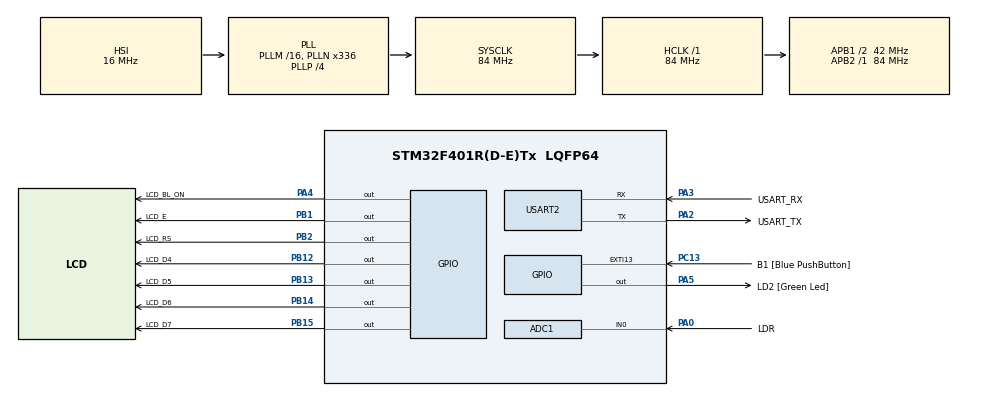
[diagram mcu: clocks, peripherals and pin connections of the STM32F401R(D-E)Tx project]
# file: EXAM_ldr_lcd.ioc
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ADC1.Channel-0\#ChannelRegularConversion=ADC_CHANNEL_0
ADC1.DMAContinuousRequests=ENABLE
ADC1.ExternalTrigConv=ADC_EXTERNALTRIGCONV_T3_TRGO
ADC1.NbrOfConversionFlag=1
ADC1.Rank-0\#ChannelRegularConversion=1
ADC1.SamplingTime-0\#ChannelRegularConversion=ADC_SAMPLETIME_480CYCLES
ADC1.master=1
Dma.ADC1.1.Direction=DMA_PERIPH_TO_MEMORY
Dma.ADC1.1.FIFOMode=DMA_FIFOMODE_DISABLE
Dma.ADC1.1.Instance=DMA2_Stream0
Dma.ADC1.1.MemDataAlignment=DMA_MDATAALIGN_HALFWORD
Dma.ADC1.1.MemInc=DMA_MINC_ENABLE
Dma.ADC1.1.Mode=DMA_CIRCULAR
Dma.ADC1.1.PeriphDataAlignment=DMA_PDATAALIGN_HALFWORD
Dma.ADC1.1.PeriphInc=DMA_PINC_DISABLE
Dma.ADC1.1.Priority=DMA_PRIORITY_LOW
Dma.Request0=USART2_TX
Dma.Request1=ADC1
Dma.USART2_TX.0.Direction=DMA_MEMORY_TO_PERIPH
Dma.USART2_TX.0.FIFOMode=DMA_FIFOMODE_DISABLE
Dma.USART2_TX.0.Instance=DMA1_Stream6
Dma.USART2_TX.0.MemDataAlignment=DMA_MDATAALIGN_BYTE
Dma.USART2_TX.0.MemInc=DMA_MINC_ENABLE
Dma.USART2_TX.0.Mode=DMA_NORMAL
Dma.USART2_TX.0.PeriphDataAlignment=DMA_PDATAALIGN_BYTE
Dma.USART2_TX.0.PeriphInc=DMA_PINC_DISABLE
Dma.USART2_TX.0.Priority=DMA_PRIORITY_LOW
Mcu.Family=STM32F4
Mcu.Name=STM32F401R(D-E)Tx
Mcu.Package=LQFP64
NVIC.ADC_IRQn=true\:0\:0\:false\:false\:true\:true\:true\:true
NVIC.DMA1_Stream6_IRQn=true\:0\:0\:false\:false\:true\:false\:true\:true
NVIC.DMA2_Stream0_IRQn=true\:0\:0\:false\:false\:true\:false\:true\:true
NVIC.PriorityGroup=NVIC_PRIORITYGROUP_0
NVIC.USART2_IRQn=true\:0\:0\:false\:false\:true\:true\:true\:true
PA0-WKUP.GPIO_Label=LDR
PA0-WKUP.Signal=ADCx_IN0
PA13.GPIO_Label=TMS
PA13.Mode=Serial_Wire
PA13.Signal=SYS_JTMS-SWDIO
PA14.GPIO_Label=TCK
PA14.Mode=Serial_Wire
PA14.Signal=SYS_JTCK-SWCLK
PA2.GPIO_Label=USART_TX
PA2.GPIO_Mode=GPIO_MODE_AF_PP
PA2.GPIO_PuPd=GPIO_NOPULL
PA2.GPIO_Speed=GPIO_SPEED_FREQ_LOW
PA2.Mode=Asynchronous
PA2.Signal=USART2_TX
PA3.GPIO_Label=USART_RX
PA3.GPIO_Mode=GPIO_MODE_AF_PP
PA3.GPIO_PuPd=GPIO_NOPULL
PA3.GPIO_Speed=GPIO_SPEED_FREQ_LOW
PA3.Mode=Asynchronous
PA3.Signal=USART2_RX
PA4.GPIO_Label=LCD_BL_ON
PA4.Signal=GPIO_Output
PA5.GPIO_Label=LD2 [Green Led]
PA5.GPIO_Mode=GPIO_MODE_OUTPUT_PP
PA5.GPIO_PuPd=GPIO_NOPULL
PA5.GPIO_Speed=GPIO_SPEED_FREQ_LOW
PA5.Signal=GPIO_Output
PB1.GPIO_Label=LCD_E
PB1.Signal=GPIO_Output
PB12.GPIO_Label=LCD_D4
PB12.Signal=GPIO_Output
PB13.GPIO_Label=LCD_D5
PB13.Signal=GPIO_Output
PB14.GPIO_Label=LCD_D6
PB14.Signal=GPIO_Output
PB15.GPIO_Label=LCD_D7
PB15.Signal=GPIO_Output
PB2.GPIO_Label=LCD_RS
PB2.Signal=GPIO_Output
PB3.GPIO_Label=SWO
PB3.Signal=SYS_JTDO-SWO
PC13-ANTI_TAMP.GPIO_Label=B1 [Blue PushButton]
PC13-ANTI_TAMP.GPIO_ModeDefaultEXTI=GPIO_MODE_IT_FALLING
PC13-ANTI_TAMP.GPIO_PuPd=GPIO_NOPULL
PC13-ANTI_TAMP.Signal=GPXTI13
PC14-OSC32_IN.Mode=LSE-External-Oscillator
PC14-OSC32_IN.Signal=RCC_OSC32_IN
PC15-OSC32_OUT.Mode=LSE-External-Oscillator
PC15-OSC32_OUT.Signal=RCC_OSC32_OUT
PH0\ -\ OSC_IN.Mode=HSE-External-Clock-Source
PH0\ -\ OSC_IN.Signal=RCC_OSC_IN
PH1\ -\ OSC_OUT.Mode=HSE-External-Clock-Source
PH1\ -\ OSC_OUT.Signal=RCC_OSC_OUT
ProjectManager.HeapSize=0x200
ProjectManager.StackSize=0x400
ProjectManager.TargetToolchain=STM32CubeIDE
RCC.48MHZClocksFreq_Value=48000000
RCC.AHBFreq_Value=84000000
RCC.APB1CLKDivider=RCC_HCLK_DIV2
RCC.APB1Freq_Value=42000000
RCC.APB1TimFreq_Value=84000000
RCC.APB2Freq_Value=84000000
RCC.APB2TimFreq_Value=84000000
RCC.CortexFreq_Value=84000000
RCC.HCLKFreq_Value=84000000
RCC.HSE_VALUE=8000000
RCC.HSI_VALUE=16000000
RCC.PLLN=336
RCC.PLLP=RCC_PLLP_DIV4
RCC.PLLQ=7
RCC.SYSCLKFreq_VALUE=84000000
RCC.SYSCLKSource=RCC_SYSCLKSOURCE_PLLCLK
RCC.VCOOutputFreq_Value=336000000
SH.ADCx_IN0.0=ADC1_IN0,IN0
TIM3.Period=9
TIM3.Prescaler=8399
TIM3.TIM_MasterOutputTrigger=TIM_TRGO_UPDATE
USART2.VirtualMode=VM_ASYNC
VP_TIM3_VS_ClockSourceINT.Mode=Internal
board=NUCLEO-F401RE

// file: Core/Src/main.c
/* USER CODE BEGIN Header */
/**
  ******************************************************************************
  * @file           : main.c
  * @brief          : Main program body
  ******************************************************************************
  * @attention
  *
  * Copyright (c) 2024 STMicroelectronics.
  * All rights reserved.
  *
  * This software is licensed under terms that can be found in the LICENSE file
  * in the root directory of this software component.
  * If no LICENSE file comes with this software, it is provided AS-IS.
  *
  ******************************************************************************
  */
/* USER CODE END Header */
#include "main.h"

/* USER CODE BEGIN Includes */
#include <string.h>
#include <stdio.h>
#include <math.h>
#include "../inc/PMDB16_LCD.h"
/* USER CODE END Includes */

/* USER CODE BEGIN PD */
#define FULL_ARRAY_SIZE 		2000
#define HALF_ARRAY_SIZE 		1000
#define VOLTAGE 				3.3
#define ONE_HUNDRED_K_OHMS		100000
#define RESOLUTION 				4095.0
#define TOP_ROW 				0
#define BOTTOM_ROW 				1
/* USER CODE END PD */

ADC_HandleTypeDef hadc1;
DMA_HandleTypeDef hdma_adc1;

TIM_HandleTypeDef htim3;

UART_HandleTypeDef huart2;
DMA_HandleTypeDef hdma_usart2_tx;

void SystemClock_Config(void);
static void MX_GPIO_Init(void);
static void MX_DMA_Init(void);
static void MX_USART2_UART_Init(void);
static void MX_TIM3_Init(void);
static void MX_ADC1_Init(void);

/* USER CODE BEGIN 0 */

uint16_t adcValues[FULL_ARRAY_SIZE]; // Array to store ADC values from three channels
char txBuffer[50]; // Buffer to store the string to send over USART
char top_lcd_str[30]; // String for the top row of the LCD
char bottom_lcd_str[30]; // String for the bottom row of the LCD

/**
 * @brief Calculate and return mean value of an array
 */
uint32_t CalculateMean(uint16_t* HalfArray)
{
	uint32_t sum = 0;
	for(uint16_t index = 0; index < HALF_ARRAY_SIZE; index++)
	{
		sum += HalfArray[index];
	}
	uint32_t result = sum / HALF_ARRAY_SIZE;
	return result;
}

/**
 * @brief Modification and sending of LDR values to the terminal by using UART
 */
void SendData(uint16_t* HalfArray)
{
	// Calculate mean of desired half of array
	uint32_t adcMean = CalculateMean(HalfArray);

	// Calculate adcV, LDR and LUX values
	float adcV = adcMean / RESOLUTION * VOLTAGE;
	float ldr = adcV * ONE_HUNDRED_K_OHMS / (VOLTAGE - adcV);
	float lux = pow((10 * (ONE_HUNDRED_K_OHMS / ldr)), 1.25);

	// UART String format
	snprintf(txBuffer, sizeof(txBuffer), "LDR: %.2f Ohm, LUX: %.2f Lux\r\n", ldr, lux);
	HAL_UART_Transmit_DMA(&huart2, (uint8_t*)txBuffer, strlen(txBuffer));

	// LCD String format
	snprintf(top_lcd_str, sizeof(top_lcd_str), "LDR: %.2f", ldr);
	snprintf(bottom_lcd_str, sizeof(bottom_lcd_str), "LUX: %.2f Lux", lux);
	lcd_println(top_lcd_str, TOP_ROW);
	lcd_println(bottom_lcd_str, BOTTOM_ROW);
}

/**
 * @brief Half Callback of the ADC function
 * 		  Send data function, pointer to first value of array
 */
void HAL_ADC_ConvHalfCpltCallback(ADC_HandleTypeDef* hadc)
{
	SendData(adcValues);
}

/**
 * @brief Full Callback of the ADC function
 * 		  Send data function, pointer to 1000th value of array
 */
void HAL_ADC_ConvCpltCallback(ADC_HandleTypeDef* hadc)
{
	SendData(adcValues + HALF_ARRAY_SIZE);
}

/* USER CODE END 0 */

int main(void)
{

  /* MCU Configuration--------------------------------------------------------*/

  /* Reset of all peripherals, Initializes the Flash interface and the Systick. */
  HAL_Init();

  /* Configure the system clock */
  SystemClock_Config();

  /* Initialize all configured peripherals */
  MX_GPIO_Init();
  MX_DMA_Init();
  MX_USART2_UART_Init();
  MX_TIM3_Init();
  MX_ADC1_Init();
  /* USER CODE BEGIN 2 */

  // Start TIM 3 (1 milli sec)
  if(HAL_TIM_Base_Start(&htim3) != HAL_OK)
  {
	 Error_Handler();
  }

  // Start ADC
  if(HAL_ADC_Start_DMA(&hadc1, (uint32_t *) adcValues, FULL_ARRAY_SIZE) != HAL_OK)
  {
	 Error_Handler();
  }

  /** Initialize the LCD controller **/
  lcd_initialize();

  /** Turn ON the LCD backlight **/
  lcd_backlight_ON();

  /* USER CODE END 2 */

  /* Infinite loop */
  while (1)
  {

  }
}

void SystemClock_Config(void)
{
  RCC_OscInitTypeDef RCC_OscInitStruct = {0};
  RCC_ClkInitTypeDef RCC_ClkInitStruct = {0};

  /** Configure the main internal regulator output voltage
  */
  __HAL_RCC_PWR_CLK_ENABLE();
  __HAL_PWR_VOLTAGESCALING_CONFIG(PWR_REGULATOR_VOLTAGE_SCALE2);

  /** Initializes the RCC Oscillators according to the specified parameters
  * in the RCC_OscInitTypeDef structure.
  */
  RCC_OscInitStruct.OscillatorType = RCC_OSCILLATORTYPE_HSI;
  RCC_OscInitStruct.HSIState = RCC_HSI_ON;
  RCC_OscInitStruct.HSICalibrationValue = RCC_HSICALIBRATION_DEFAULT;
  RCC_OscInitStruct.PLL.PLLState = RCC_PLL_ON;
  RCC_OscInitStruct.PLL.PLLSource = RCC_PLLSOURCE_HSI;
  RCC_OscInitStruct.PLL.PLLM = 16;
  RCC_OscInitStruct.PLL.PLLN = 336;
  RCC_OscInitStruct.PLL.PLLP = RCC_PLLP_DIV4;
  RCC_OscInitStruct.PLL.PLLQ = 7;
  if (HAL_RCC_OscConfig(&RCC_OscInitStruct) != HAL_OK)
  {
    Error_Handler();
  }

  /** Initializes the CPU, AHB and APB buses clocks
  */
  RCC_ClkInitStruct.ClockType = RCC_CLOCKTYPE_HCLK|RCC_CLOCKTYPE_SYSCLK
                              |RCC_CLOCKTYPE_PCLK1|RCC_CLOCKTYPE_PCLK2;
  RCC_ClkInitStruct.SYSCLKSource = RCC_SYSCLKSOURCE_PLLCLK;
  RCC_ClkInitStruct.AHBCLKDivider = RCC_SYSCLK_DIV1;
  RCC_ClkInitStruct.APB1CLKDivider = RCC_HCLK_DIV2;
  RCC_ClkInitStruct.APB2CLKDivider = RCC_HCLK_DIV1;

  if (HAL_RCC_ClockConfig(&RCC_ClkInitStruct, FLASH_LATENCY_2) != HAL_OK)
  {
    Error_Handler();
  }
}

static void MX_ADC1_Init(void)
{

  ADC_ChannelConfTypeDef sConfig = {0};

  /** Configure the global features of the ADC (Clock, Resolution, Data Alignment and number of conversion)
  */
  hadc1.Instance = ADC1;
  hadc1.Init.ClockPrescaler = ADC_CLOCK_SYNC_PCLK_DIV4;
  hadc1.Init.Resolution = ADC_RESOLUTION_12B;
  hadc1.Init.ScanConvMode = DISABLE;
  hadc1.Init.ContinuousConvMode = DISABLE;
  hadc1.Init.DiscontinuousConvMode = DISABLE;
  hadc1.Init.ExternalTrigConvEdge = ADC_EXTERNALTRIGCONVEDGE_RISING;
  hadc1.Init.ExternalTrigConv = ADC_EXTERNALTRIGCONV_T3_TRGO;
  hadc1.Init.DataAlign = ADC_DATAALIGN_RIGHT;
  hadc1.Init.NbrOfConversion = 1;
  hadc1.Init.DMAContinuousRequests = ENABLE;
  hadc1.Init.EOCSelection = ADC_EOC_SINGLE_CONV;
  if (HAL_ADC_Init(&hadc1) != HAL_OK)
  {
    Error_Handler();
  }

  /** Configure for the selected ADC regular channel its corresponding rank in the sequencer and its sample time.
  */
  sConfig.Channel = ADC_CHANNEL_0;
  sConfig.Rank = 1;
  sConfig.SamplingTime = ADC_SAMPLETIME_480CYCLES;
  if (HAL_ADC_ConfigChannel(&hadc1, &sConfig) != HAL_OK)
  {
    Error_Handler();
  }

}

static void MX_TIM3_Init(void)
{

  TIM_ClockConfigTypeDef sClockSourceConfig = {0};
  TIM_MasterConfigTypeDef sMasterConfig = {0};

  htim3.Instance = TIM3;
  htim3.Init.Prescaler = 8399;
  htim3.Init.CounterMode = TIM_COUNTERMODE_UP;
  htim3.Init.Period = 9;
  htim3.Init.ClockDivision = TIM_CLOCKDIVISION_DIV1;
  htim3.Init.AutoReloadPreload = TIM_AUTORELOAD_PRELOAD_DISABLE;
  if (HAL_TIM_Base_Init(&htim3) != HAL_OK)
  {
    Error_Handler();
  }
  sClockSourceConfig.ClockSource = TIM_CLOCKSOURCE_INTERNAL;
  if (HAL_TIM_ConfigClockSource(&htim3, &sClockSourceConfig) != HAL_OK)
  {
    Error_Handler();
  }
  sMasterConfig.MasterOutputTrigger = TIM_TRGO_UPDATE;
  sMasterConfig.MasterSlaveMode = TIM_MASTERSLAVEMODE_DISABLE;
  if (HAL_TIMEx_MasterConfigSynchronization(&htim3, &sMasterConfig) != HAL_OK)
  {
    Error_Handler();
  }

}

static void MX_USART2_UART_Init(void)
{

  huart2.Instance = USART2;
  huart2.Init.BaudRate = 115200;
  huart2.Init.WordLength = UART_WORDLENGTH_8B;
  huart2.Init.StopBits = UART_STOPBITS_1;
  huart2.Init.Parity = UART_PARITY_NONE;
  huart2.Init.Mode = UART_MODE_TX_RX;
  huart2.Init.HwFlowCtl = UART_HWCONTROL_NONE;
  huart2.Init.OverSampling = UART_OVERSAMPLING_16;
  if (HAL_UART_Init(&huart2) != HAL_OK)
  {
    Error_Handler();
  }

}

static void MX_DMA_Init(void)
{

  /* DMA controller clock enable */
  __HAL_RCC_DMA1_CLK_ENABLE();
  __HAL_RCC_DMA2_CLK_ENABLE();

  /* DMA interrupt init */
  /* DMA1_Stream6_IRQn interrupt configuration */
  HAL_NVIC_SetPriority(DMA1_Stream6_IRQn, 0, 0);
  HAL_NVIC_EnableIRQ(DMA1_Stream6_IRQn);
  /* DMA2_Stream0_IRQn interrupt configuration */
  HAL_NVIC_SetPriority(DMA2_Stream0_IRQn, 0, 0);
  HAL_NVIC_EnableIRQ(DMA2_Stream0_IRQn);

}

static void MX_GPIO_Init(void)
{
  GPIO_InitTypeDef GPIO_InitStruct = {0};

  /* GPIO Ports Clock Enable */
  __HAL_RCC_GPIOC_CLK_ENABLE();
  __HAL_RCC_GPIOH_CLK_ENABLE();
  __HAL_RCC_GPIOA_CLK_ENABLE();
  __HAL_RCC_GPIOB_CLK_ENABLE();

  /*Configure GPIO pin Output Level */
  HAL_GPIO_WritePin(GPIOA, LCD_BL_ON_Pin|LD2_Pin, GPIO_PIN_RESET);

  /*Configure GPIO pin Output Level */
  HAL_GPIO_WritePin(GPIOB, LCD_E_Pin|LCD_RS_Pin|LCD_D4_Pin|LCD_D5_Pin
                          |LCD_D6_Pin|LCD_D7_Pin, GPIO_PIN_RESET);

  /*Configure GPIO pin : B1_Pin */
  GPIO_InitStruct.Pin = B1_Pin;
  GPIO_InitStruct.Mode = GPIO_MODE_IT_FALLING;
  GPIO_InitStruct.Pull = GPIO_NOPULL;
  HAL_GPIO_Init(B1_GPIO_Port, &GPIO_InitStruct);

  /*Configure GPIO pins : LCD_BL_ON_Pin LD2_Pin */
  GPIO_InitStruct.Pin = LCD_BL_ON_Pin|LD2_Pin;
  GPIO_InitStruct.Mode = GPIO_MODE_OUTPUT_PP;
  GPIO_InitStruct.Pull = GPIO_NOPULL;
  GPIO_InitStruct.Speed = GPIO_SPEED_FREQ_LOW;
  HAL_GPIO_Init(GPIOA, &GPIO_InitStruct);

  /*Configure GPIO pins : LCD_E_Pin LCD_RS_Pin LCD_D4_Pin LCD_D5_Pin
                           LCD_D6_Pin LCD_D7_Pin */
  GPIO_InitStruct.Pin = LCD_E_Pin|LCD_RS_Pin|LCD_D4_Pin|LCD_D5_Pin
                          |LCD_D6_Pin|LCD_D7_Pin;
  GPIO_InitStruct.Mode = GPIO_MODE_OUTPUT_PP;
  GPIO_InitStruct.Pull = GPIO_NOPULL;
  GPIO_InitStruct.Speed = GPIO_SPEED_FREQ_LOW;
  HAL_GPIO_Init(GPIOB, &GPIO_InitStruct);

}

void Error_Handler(void)
{
  __disable_irq();
  while (1)
  {
  }
}
